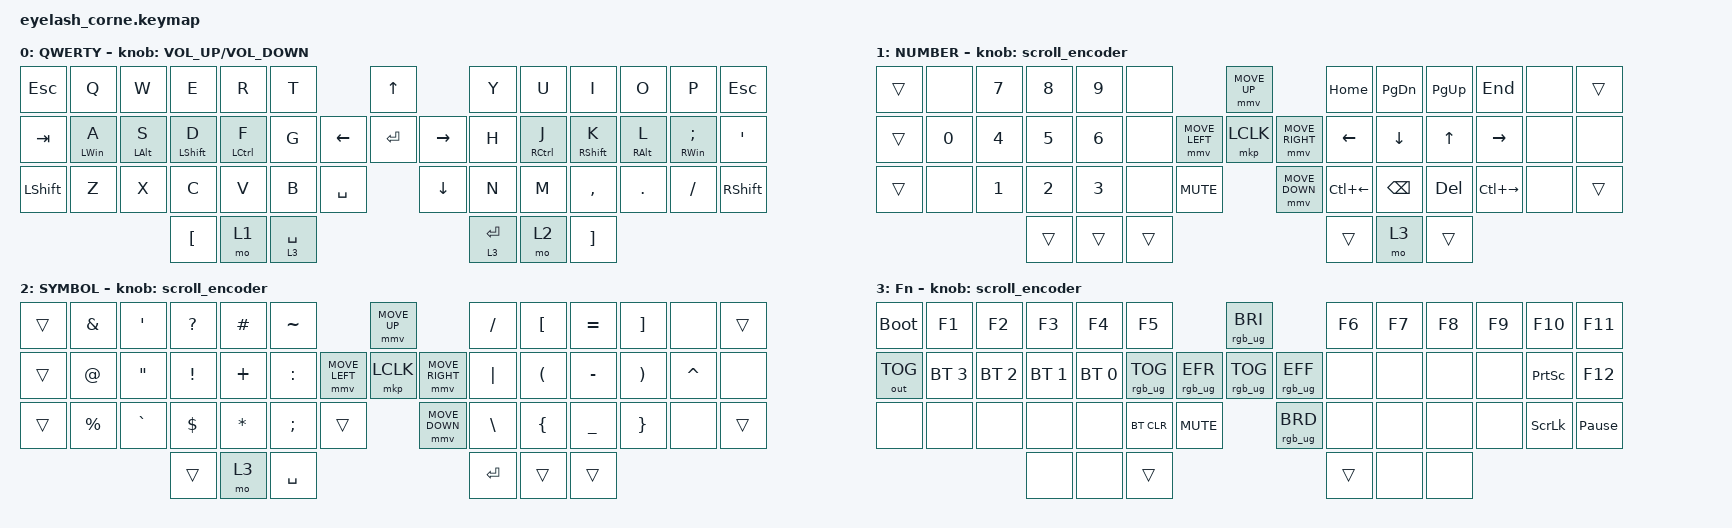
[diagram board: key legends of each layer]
#define ZMK_POINTING_DEFAULT_MOVE_VAL 1200  // 600
#define ZMK_POINTING_DEFAULT_SCRL_VAL 25   // 10

#include <input/processors.dtsi>
#include <zephyr/dt-bindings/input/input-event-codes.h>
#include <behaviors.dtsi>
#include <dt-bindings/zmk/bt.h>
#include <dt-bindings/zmk/keys.h>
#include <dt-bindings/zmk/outputs.h>
#include <dt-bindings/zmk/pointing.h>
#include <dt-bindings/zmk/rgb.h>

&mmv_input_listener { input-processors = <&zip_xy_scaler 2 1>; };

&msc_input_listener { input-processors = <&zip_scroll_scaler 2 1>; };

&msc {
    acceleration-exponent = <1>;      // 0
    time-to-max-speed-ms = <100>;       // 300
    delay-ms = <0>;                   // 0
};

&mmv {
    time-to-max-speed-ms = <500>;
    acceleration-exponent = <1>;
    trigger-period-ms = <16>;
};

/ {
    behaviors {
        td0: td0 {
            compatible = "zmk,behavior-tap-dance";
            display-name = "Shift/Caps Lock Tap Dance";
            #binding-cells = <0>;
            bindings = <&kp LEFT_SHIFT>, <&kp CAPS>;
        };

        hr: hr {
            compatible = "zmk,behavior-hold-tap";
            label = "Home Row";
            bindings = <&kp>, <&kp>;

            #binding-cells = <2>;
            tapping-term-ms = <200>;
            flavor = "balanced";
            quick-tap-ms = <200>;
        };
    };

    rgb_encoder: rgb_encoder {
        compatible = "zmk,behavior-sensor-rotate";
        #sensor-binding-cells = <0>;
        bindings = <&rgb_ug RGB_BRI>, <&rgb_ug RGB_BRD>;
    };

    scroll_encoder: scroll_encoder {
        compatible = "zmk,behavior-sensor-rotate";
        #sensor-binding-cells = <0>;
        bindings = <&msc SCRL_DOWN>, <&msc SCRL_UP>;

        tap-ms = <100>;
    };

    keymap {
        compatible = "zmk,keymap";

        default_layer {
            display-name = "QWERTY";
            bindings = <
&kp ESCAPE  &kp Q           &kp W           &kp E             &kp R        &kp T                               &kp UP                &kp Y        &kp U        &kp I        &kp O            &kp P               &kp ESC
&kp TAB     &hr LEFT_WIN A  &hr LEFT_ALT S  &hr LEFT_SHIFT D  &hr LCTRL F  &kp G                     &kp LEFT  &kp ENTER  &kp RIGHT  &kp H        &hr RCTRL J  &hr RSHFT K  &hr RIGHT_ALT L  &hr RIGHT_WIN SEMI  &kp SQT
&kp LSHFT   &kp Z           &kp X           &kp C             &kp V        &kp B        &kp SPACE              &kp DOWN              &kp N        &kp M        &kp COMMA    &kp DOT          &kp FSLH            &kp RSHFT
                                            &kp LBKT          &mo 1        &lt 3 SPACE                                               &lt 3 ENTER  &mo 2        &kp RBKT
            >;

            sensor-bindings = <&inc_dec_kp C_VOLUME_UP C_VOLUME_DOWN>;
        };

        lower_layer {
            display-name = "NUMBER";
            bindings = <
&trans  &none   &kp N7  &kp N8  &kp N9  &none                                 &mmv MOVE_UP                     &kp HOME      &kp PAGE_DOWN  &kp PAGE_UP  &kp END        &none  &trans
&trans  &kp N0  &kp N4  &kp N5  &kp N6  &none                 &mmv MOVE_LEFT  &mkp LCLK       &mmv MOVE_RIGHT  &kp LEFT      &kp DOWN       &kp UP       &kp RIGHT      &none  &none
&trans  &none   &kp N1  &kp N2  &kp N3  &none   &kp C_MUTE                    &mmv MOVE_DOWN                   &kp LC(LEFT)  &kp BSPC       &kp DELETE   &kp LC(RIGHT)  &none  &trans
                        &trans  &trans  &trans                                                                 &trans        &mo 3          &trans
            >;

            sensor-bindings = <&scroll_encoder>;
        };

        raise_layer {
            display-name = "SYMBOL";
            bindings = <
&trans  &kp AMPS   &kp SQT    &kp QMARK  &kp HASH  &kp TILDE                            &mmv MOVE_UP                     &kp FSLH  &kp LBKT  &kp EQUAL  &kp RBKT  &none      &trans
&trans  &kp AT     &kp DQT    &kp EXCL   &kp PLUS  &kp COLON            &mmv MOVE_LEFT  &mkp LCLK       &mmv MOVE_RIGHT  &kp PIPE  &kp LPAR  &kp MINUS  &kp RPAR  &kp CARET  &none
&trans  &kp PRCNT  &kp GRAVE  &kp DLLR   &kp STAR  &kp SEMI   &trans                    &mmv MOVE_DOWN                   &kp BSLH  &kp LBRC  &kp UNDER  &kp RBRC  &none      &trans
                              &trans     &mo 3     &kp SPACE                                                             &kp RET   &trans    &trans
            >;

            sensor-bindings = <&scroll_encoder>;
        };

        func_layer {
            display-name = "Fn";
            bindings = <
&bootloader   &kp F1        &kp F2        &kp F3        &kp F4        &kp F5                                          &rgb_ug RGB_BRI                   &kp F6  &kp F7  &kp F8  &kp F9  &kp F10          &kp F11
&out OUT_TOG  &bt BT_SEL 3  &bt BT_SEL 2  &bt BT_SEL 1  &bt BT_SEL 0  &rgb_ug RGB_TOG                &rgb_ug RGB_EFR  &rgb_ug RGB_TOG  &rgb_ug RGB_EFF  &none   &none   &none   &none   &kp PRINTSCREEN  &kp F12
&none         &none         &none         &none         &none         &bt BT_CLR       &kp C_MUTE                     &rgb_ug RGB_BRD                   &none   &none   &none   &none   &kp SCROLLLOCK   &kp PAUSE_BREAK
                                          &none         &none         &trans                                                                            &trans  &none   &none
            >;

            sensor-bindings = <&scroll_encoder>;
        };
    };
};
